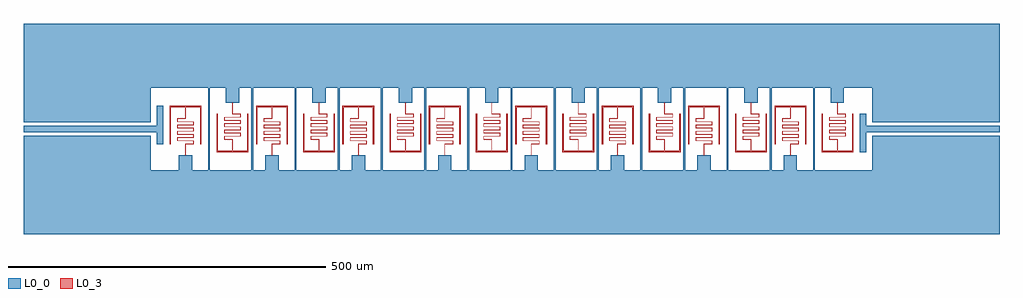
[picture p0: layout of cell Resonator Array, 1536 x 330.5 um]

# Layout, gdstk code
import gdstk
lib = gdstk.Library(unit=1e-6, precision=1e-09)
def P(c, l, *ps):  # polygons
    for p in ps: c.add(gdstk.Polygon(p, *l))
L0_0 = (0, 0)
L0_3 = (0, 3)

resonator_array = lib.new_cell('Resonator Array')
P(resonator_array, L0_0, [(-35,0),(-45,0),(-45,-31.25),(-255,-31.25),(-255,-41.25),(-45,-41.25),(-45,-60),(-35,-60)],
  [(1071,-41.25),(1281,-41.25),(1281,-31.25),(1071,-31.25),(1071,-12.5),(1061,-12.5),(1061,-72.5),(1071,-72.5)],
  [(1015.5,29),(1015.5,5),(1036,5),(1036,29),(1081,29),(1081,-25.25),(1281,-25.25),(1281,129),(-255,129),(-255,-25.25),(-55,-25.25),(-55,29),(38.5,29),(63.5,29),(63.5,5),(84.5,5),(84.5,29),(103.5,29),(103.5,-101.5),(106.5,-101.5),(106.5,29),(174.5,29),(199.5,29),(199.5,5),(220.5,5),(220.5,29),(239.5,29),(239.5,-101.5),(242.5,-101.5),(242.5,29),(310.5,29),(335.5,29),(335.5,5),(356.5,5),(356.5,29),(375.5,29),(375.5,-101.5),(378.5,-101.5),(378.5,29),(446.5,29),(471.5,29),(471.5,5),(492.5,5),(492.5,29),(511.5,29),(511.5,-101.5),(514.5,-101.5),(514.5,29),(582.5,29),(607.5,29),(607.5,5),(628.5,5),(628.5,29),(647.5,29),(647.5,-101.5),(650.5,-101.5),(650.5,29),(718.5,29),(743.5,29),(743.5,5),(764.5,5),(764.5,29),(783.5,29),(783.5,-101.5),(786.5,-101.5),(786.5,29),(854.5,29),(879.5,29),(879.5,5),(900.5,5),(900.5,29),(919.5,29),(919.5,-101.5),(922.5,-101.5),(922.5,29),(987.5,29),(987.5,-101.5),(962,-101.5),(962,-77.5),(941.5,-77.5),(941.5,-101.5),(922.5,-101.5),(919.5,-101.5),(854.5,-101.5),(854.5,29),(786.5,29),(851.5,29),(851.5,-101.5),(826.5,-101.5),(826.5,-77.5),(805.5,-77.5),(805.5,-101.5),(786.5,-101.5),(783.5,-101.5),(718.5,-101.5),(718.5,29),(650.5,29),(715.5,29),(715.5,-101.5),(690.5,-101.5),(690.5,-77.5),(669.5,-77.5),(669.5,-101.5),(650.5,-101.5),(647.5,-101.5),(582.5,-101.5),(582.5,29),(514.5,29),(579.5,29),(579.5,-101.5),(554.5,-101.5),(554.5,-77.5),(533.5,-77.5),(533.5,-101.5),(514.5,-101.5),(511.5,-101.5),(446.5,-101.5),(446.5,29),(378.5,29),(443.5,29),(443.5,-101.5),(418.5,-101.5),(418.5,-77.5),(397.5,-77.5),(397.5,-101.5),(378.5,-101.5),(375.5,-101.5),(310.5,-101.5),(310.5,29),(242.5,29),(307.5,29),(307.5,-101.5),(282.5,-101.5),(282.5,-77.5),(261.5,-77.5),(261.5,-101.5),(242.5,-101.5),(239.5,-101.5),(174.5,-101.5),(174.5,29),(106.5,29),(171.5,29),(171.5,-101.5),(146.5,-101.5),(146.5,-77.5),(125.5,-77.5),(125.5,-101.5),(106.5,-101.5),(103.5,-101.5),(38.5,-101.5),(38.5,29),(-55,29),(35.5,29),(35.5,-101.5),(10.5,-101.5),(10.5,-77.5),(-10.5,-77.5),(-10.5,-101.5),(-55,-101.5),(-55,-47.25),(-255,-47.25),(-255,-201.5),(1281,-201.5),(1281,-47.25),(1081,-47.25),(1081,-101.5),(990.5,-101.5),(990.5,29)])
P(resonator_array, L0_3, [(-25,-60),(-23,-60),(-23,-2),(23,-2),(23,-60),(25,-60),(25,0),(-25,0)],
  [(0.25,-2),(-0.25,-2),(-0.25,-19.5),(-13,-19.5),(-13,-25),(0,-25),(12.5,-25),(12.5,-29.5),(0,-29.5),(-13,-29.5),(-13,-35),(0,-35),(12.5,-35),(12.5,-39.5),(0,-39.5),(-13,-39.5),(-13,-45),(0,-45),(12.5,-45),(12.5,-49.5),(0,-49.5),(-13,-49.5),(-13,-55),(0,-55),(12.5,-55),(12.5,-59.5),(-0.25,-59.5),(-0.25,-77.5),(0.25,-77.5),(0.25,-60),(13,-60),(13,-54.5),(0,-54.5),(-12.5,-54.5),(-12.5,-50),(0,-50),(13,-50),(13,-44.5),(0,-44.5),(-12.5,-44.5),(-12.5,-40),(0,-40),(13,-40),(13,-34.5),(0,-34.5),(-12.5,-34.5),(-12.5,-30),(0,-30),(13,-30),(13,-24.5),(0,-24.5),(-12.5,-24.5),(-12.5,-20),(0.25,-20)],
  [(51,-12.5),(49,-12.5),(49,-72.5),(99,-72.5),(99,-12.5),(97,-12.5),(97,-70.5),(51,-70.5)],
  [(73.75,-70.5),(74.25,-70.5),(74.25,-52.5),(61.5,-52.5),(61.5,-48),(74,-48),(87,-48),(87,-42.5),(74,-42.5),(61.5,-42.5),(61.5,-38),(74,-38),(87,-38),(87,-32.5),(74,-32.5),(61.5,-32.5),(61.5,-28),(74,-28),(87,-28),(87,-22.5),(74,-22.5),(61.5,-22.5),(61.5,-18),(74,-18),(87,-18),(87,-12.5),(74.25,-12.5),(74.25,5),(73.75,5),(73.75,-13),(86.5,-13),(86.5,-17.5),(74,-17.5),(61,-17.5),(61,-23),(74,-23),(86.5,-23),(86.5,-27.5),(74,-27.5),(61,-27.5),(61,-33),(74,-33),(86.5,-33),(86.5,-37.5),(74,-37.5),(61,-37.5),(61,-43),(74,-43),(86.5,-43),(86.5,-47.5),(74,-47.5),(61,-47.5),(61,-53),(73.75,-53)],
  [(111,-60),(113,-60),(113,-2),(159,-2),(159,-60),(161,-60),(161,0),(111,0)],
  [(136.25,-2),(135.75,-2),(135.75,-19.5),(123,-19.5),(123,-25),(136,-25),(148.5,-25),(148.5,-29.5),(136,-29.5),(123,-29.5),(123,-35),(136,-35),(148.5,-35),(148.5,-39.5),(136,-39.5),(123,-39.5),(123,-45),(136,-45),(148.5,-45),(148.5,-49.5),(136,-49.5),(123,-49.5),(123,-55),(136,-55),(148.5,-55),(148.5,-59.5),(135.75,-59.5),(135.75,-77.5),(136.25,-77.5),(136.25,-60),(149,-60),(149,-54.5),(136,-54.5),(123.5,-54.5),(123.5,-50),(136,-50),(149,-50),(149,-44.5),(136,-44.5),(123.5,-44.5),(123.5,-40),(136,-40),(149,-40),(149,-34.5),(136,-34.5),(123.5,-34.5),(123.5,-30),(136,-30),(149,-30),(149,-24.5),(136,-24.5),(123.5,-24.5),(123.5,-20),(136.25,-20)],
  [(187,-12.5),(185,-12.5),(185,-72.5),(235,-72.5),(235,-12.5),(233,-12.5),(233,-70.5),(187,-70.5)],
  [(209.75,-70.5),(210.25,-70.5),(210.25,-52.5),(197.5,-52.5),(197.5,-48),(210,-48),(223,-48),(223,-42.5),(210,-42.5),(197.5,-42.5),(197.5,-38),(210,-38),(223,-38),(223,-32.5),(210,-32.5),(197.5,-32.5),(197.5,-28),(210,-28),(223,-28),(223,-22.5),(210,-22.5),(197.5,-22.5),(197.5,-18),(210,-18),(223,-18),(223,-12.5),(210.25,-12.5),(210.25,5),(209.75,5),(209.75,-13),(222.5,-13),(222.5,-17.5),(210,-17.5),(197,-17.5),(197,-23),(210,-23),(222.5,-23),(222.5,-27.5),(210,-27.5),(197,-27.5),(197,-33),(210,-33),(222.5,-33),(222.5,-37.5),(210,-37.5),(197,-37.5),(197,-43),(210,-43),(222.5,-43),(222.5,-47.5),(210,-47.5),(197,-47.5),(197,-53),(209.75,-53)],
  [(247,-60),(249,-60),(249,-2),(295,-2),(295,-60),(297,-60),(297,0),(247,0)],
  [(272.25,-2),(271.75,-2),(271.75,-19.5),(259,-19.5),(259,-25),(272,-25),(284.5,-25),(284.5,-29.5),(272,-29.5),(259,-29.5),(259,-35),(272,-35),(284.5,-35),(284.5,-39.5),(272,-39.5),(259,-39.5),(259,-45),(272,-45),(284.5,-45),(284.5,-49.5),(272,-49.5),(259,-49.5),(259,-55),(272,-55),(284.5,-55),(284.5,-59.5),(271.75,-59.5),(271.75,-77.5),(272.25,-77.5),(272.25,-60),(285,-60),(285,-54.5),(272,-54.5),(259.5,-54.5),(259.5,-50),(272,-50),(285,-50),(285,-44.5),(272,-44.5),(259.5,-44.5),(259.5,-40),(272,-40),(285,-40),(285,-34.5),(272,-34.5),(259.5,-34.5),(259.5,-30),(272,-30),(285,-30),(285,-24.5),(272,-24.5),(259.5,-24.5),(259.5,-20),(272.25,-20)],
  [(323,-12.5),(321,-12.5),(321,-72.5),(371,-72.5),(371,-12.5),(369,-12.5),(369,-70.5),(323,-70.5)],
  [(345.75,-70.5),(346.25,-70.5),(346.25,-52.5),(333.5,-52.5),(333.5,-48),(346,-48),(359,-48),(359,-42.5),(346,-42.5),(333.5,-42.5),(333.5,-38),(346,-38),(359,-38),(359,-32.5),(346,-32.5),(333.5,-32.5),(333.5,-28),(346,-28),(359,-28),(359,-22.5),(346,-22.5),(333.5,-22.5),(333.5,-18),(346,-18),(359,-18),(359,-12.5),(346.25,-12.5),(346.25,5),(345.75,5),(345.75,-13),(358.5,-13),(358.5,-17.5),(346,-17.5),(333,-17.5),(333,-23),(346,-23),(358.5,-23),(358.5,-27.5),(346,-27.5),(333,-27.5),(333,-33),(346,-33),(358.5,-33),(358.5,-37.5),(346,-37.5),(333,-37.5),(333,-43),(346,-43),(358.5,-43),(358.5,-47.5),(346,-47.5),(333,-47.5),(333,-53),(345.75,-53)],
  [(383,-60),(385,-60),(385,-2),(431,-2),(431,-60),(433,-60),(433,0),(383,0)],
  [(408.25,-2),(407.75,-2),(407.75,-19.5),(395,-19.5),(395,-25),(408,-25),(420.5,-25),(420.5,-29.5),(408,-29.5),(395,-29.5),(395,-35),(408,-35),(420.5,-35),(420.5,-39.5),(408,-39.5),(395,-39.5),(395,-45),(408,-45),(420.5,-45),(420.5,-49.5),(408,-49.5),(395,-49.5),(395,-55),(408,-55),(420.5,-55),(420.5,-59.5),(407.75,-59.5),(407.75,-77.5),(408.25,-77.5),(408.25,-60),(421,-60),(421,-54.5),(408,-54.5),(395.5,-54.5),(395.5,-50),(408,-50),(421,-50),(421,-44.5),(408,-44.5),(395.5,-44.5),(395.5,-40),(408,-40),(421,-40),(421,-34.5),(408,-34.5),(395.5,-34.5),(395.5,-30),(408,-30),(421,-30),(421,-24.5),(408,-24.5),(395.5,-24.5),(395.5,-20),(408.25,-20)],
  [(459,-12.5),(457,-12.5),(457,-72.5),(507,-72.5),(507,-12.5),(505,-12.5),(505,-70.5),(459,-70.5)],
  [(481.75,-70.5),(482.25,-70.5),(482.25,-52.5),(469.5,-52.5),(469.5,-48),(482,-48),(495,-48),(495,-42.5),(482,-42.5),(469.5,-42.5),(469.5,-38),(482,-38),(495,-38),(495,-32.5),(482,-32.5),(469.5,-32.5),(469.5,-28),(482,-28),(495,-28),(495,-22.5),(482,-22.5),(469.5,-22.5),(469.5,-18),(482,-18),(495,-18),(495,-12.5),(482.25,-12.5),(482.25,5),(481.75,5),(481.75,-13),(494.5,-13),(494.5,-17.5),(482,-17.5),(469,-17.5),(469,-23),(482,-23),(494.5,-23),(494.5,-27.5),(482,-27.5),(469,-27.5),(469,-33),(482,-33),(494.5,-33),(494.5,-37.5),(482,-37.5),(469,-37.5),(469,-43),(482,-43),(494.5,-43),(494.5,-47.5),(482,-47.5),(469,-47.5),(469,-53),(481.75,-53)],
  [(519,-60),(521,-60),(521,-2),(567,-2),(567,-60),(569,-60),(569,0),(519,0)],
  [(544.25,-2),(543.75,-2),(543.75,-19.5),(531,-19.5),(531,-25),(544,-25),(556.5,-25),(556.5,-29.5),(544,-29.5),(531,-29.5),(531,-35),(544,-35),(556.5,-35),(556.5,-39.5),(544,-39.5),(531,-39.5),(531,-45),(544,-45),(556.5,-45),(556.5,-49.5),(544,-49.5),(531,-49.5),(531,-55),(544,-55),(556.5,-55),(556.5,-59.5),(543.75,-59.5),(543.75,-77.5),(544.25,-77.5),(544.25,-60),(557,-60),(557,-54.5),(544,-54.5),(531.5,-54.5),(531.5,-50),(544,-50),(557,-50),(557,-44.5),(544,-44.5),(531.5,-44.5),(531.5,-40),(544,-40),(557,-40),(557,-34.5),(544,-34.5),(531.5,-34.5),(531.5,-30),(544,-30),(557,-30),(557,-24.5),(544,-24.5),(531.5,-24.5),(531.5,-20),(544.25,-20)],
  [(595,-12.5),(593,-12.5),(593,-72.5),(643,-72.5),(643,-12.5),(641,-12.5),(641,-70.5),(595,-70.5)],
  [(617.75,-70.5),(618.25,-70.5),(618.25,-52.5),(605.5,-52.5),(605.5,-48),(618,-48),(631,-48),(631,-42.5),(618,-42.5),(605.5,-42.5),(605.5,-38),(618,-38),(631,-38),(631,-32.5),(618,-32.5),(605.5,-32.5),(605.5,-28),(618,-28),(631,-28),(631,-22.5),(618,-22.5),(605.5,-22.5),(605.5,-18),(618,-18),(631,-18),(631,-12.5),(618.25,-12.5),(618.25,5),(617.75,5),(617.75,-13),(630.5,-13),(630.5,-17.5),(618,-17.5),(605,-17.5),(605,-23),(618,-23),(630.5,-23),(630.5,-27.5),(618,-27.5),(605,-27.5),(605,-33),(618,-33),(630.5,-33),(630.5,-37.5),(618,-37.5),(605,-37.5),(605,-43),(618,-43),(630.5,-43),(630.5,-47.5),(618,-47.5),(605,-47.5),(605,-53),(617.75,-53)],
  [(655,-60),(657,-60),(657,-2),(703,-2),(703,-60),(705,-60),(705,0),(655,0)],
  [(680.25,-2),(679.75,-2),(679.75,-19.5),(667,-19.5),(667,-25),(680,-25),(692.5,-25),(692.5,-29.5),(680,-29.5),(667,-29.5),(667,-35),(680,-35),(692.5,-35),(692.5,-39.5),(680,-39.5),(667,-39.5),(667,-45),(680,-45),(692.5,-45),(692.5,-49.5),(680,-49.5),(667,-49.5),(667,-55),(680,-55),(692.5,-55),(692.5,-59.5),(679.75,-59.5),(679.75,-77.5),(680.25,-77.5),(680.25,-60),(693,-60),(693,-54.5),(680,-54.5),(667.5,-54.5),(667.5,-50),(680,-50),(693,-50),(693,-44.5),(680,-44.5),(667.5,-44.5),(667.5,-40),(680,-40),(693,-40),(693,-34.5),(680,-34.5),(667.5,-34.5),(667.5,-30),(680,-30),(693,-30),(693,-24.5),(680,-24.5),(667.5,-24.5),(667.5,-20),(680.25,-20)],
  [(731,-12.5),(729,-12.5),(729,-72.5),(779,-72.5),(779,-12.5),(777,-12.5),(777,-70.5),(731,-70.5)],
  [(753.75,-70.5),(754.25,-70.5),(754.25,-52.5),(741.5,-52.5),(741.5,-48),(754,-48),(767,-48),(767,-42.5),(754,-42.5),(741.5,-42.5),(741.5,-38),(754,-38),(767,-38),(767,-32.5),(754,-32.5),(741.5,-32.5),(741.5,-28),(754,-28),(767,-28),(767,-22.5),(754,-22.5),(741.5,-22.5),(741.5,-18),(754,-18),(767,-18),(767,-12.5),(754.25,-12.5),(754.25,5),(753.75,5),(753.75,-13),(766.5,-13),(766.5,-17.5),(754,-17.5),(741,-17.5),(741,-23),(754,-23),(766.5,-23),(766.5,-27.5),(754,-27.5),(741,-27.5),(741,-33),(754,-33),(766.5,-33),(766.5,-37.5),(754,-37.5),(741,-37.5),(741,-43),(754,-43),(766.5,-43),(766.5,-47.5),(754,-47.5),(741,-47.5),(741,-53),(753.75,-53)],
  [(791,-60),(793,-60),(793,-2),(839,-2),(839,-60),(841,-60),(841,0),(791,0)],
  [(816.25,-2),(815.75,-2),(815.75,-19.5),(803,-19.5),(803,-25),(816,-25),(828.5,-25),(828.5,-29.5),(816,-29.5),(803,-29.5),(803,-35),(816,-35),(828.5,-35),(828.5,-39.5),(816,-39.5),(803,-39.5),(803,-45),(816,-45),(828.5,-45),(828.5,-49.5),(816,-49.5),(803,-49.5),(803,-55),(816,-55),(828.5,-55),(828.5,-59.5),(815.75,-59.5),(815.75,-77.5),(816.25,-77.5),(816.25,-60),(829,-60),(829,-54.5),(816,-54.5),(803.5,-54.5),(803.5,-50),(816,-50),(829,-50),(829,-44.5),(816,-44.5),(803.5,-44.5),(803.5,-40),(816,-40),(829,-40),(829,-34.5),(816,-34.5),(803.5,-34.5),(803.5,-30),(816,-30),(829,-30),(829,-24.5),(816,-24.5),(803.5,-24.5),(803.5,-20),(816.25,-20)],
  [(867,-12.5),(865,-12.5),(865,-72.5),(915,-72.5),(915,-12.5),(913,-12.5),(913,-70.5),(867,-70.5)],
  [(889.75,-70.5),(890.25,-70.5),(890.25,-52.5),(877.5,-52.5),(877.5,-48),(890,-48),(903,-48),(903,-42.5),(890,-42.5),(877.5,-42.5),(877.5,-38),(890,-38),(903,-38),(903,-32.5),(890,-32.5),(877.5,-32.5),(877.5,-28),(890,-28),(903,-28),(903,-22.5),(890,-22.5),(877.5,-22.5),(877.5,-18),(890,-18),(903,-18),(903,-12.5),(890.25,-12.5),(890.25,5),(889.75,5),(889.75,-13),(902.5,-13),(902.5,-17.5),(890,-17.5),(877,-17.5),(877,-23),(890,-23),(902.5,-23),(902.5,-27.5),(890,-27.5),(877,-27.5),(877,-33),(890,-33),(902.5,-33),(902.5,-37.5),(890,-37.5),(877,-37.5),(877,-43),(890,-43),(902.5,-43),(902.5,-47.5),(890,-47.5),(877,-47.5),(877,-53),(889.75,-53)],
  [(927,-60),(929,-60),(929,-2),(975,-2),(975,-60),(977,-60),(977,0),(927,0)],
  [(952.25,-2),(951.75,-2),(951.75,-19.5),(939,-19.5),(939,-25),(952,-25),(964.5,-25),(964.5,-29.5),(952,-29.5),(939,-29.5),(939,-35),(952,-35),(964.5,-35),(964.5,-39.5),(952,-39.5),(939,-39.5),(939,-45),(952,-45),(964.5,-45),(964.5,-49.5),(952,-49.5),(939,-49.5),(939,-55),(952,-55),(964.5,-55),(964.5,-59.5),(951.75,-59.5),(951.75,-77.5),(952.25,-77.5),(952.25,-60),(965,-60),(965,-54.5),(952,-54.5),(939.5,-54.5),(939.5,-50),(952,-50),(965,-50),(965,-44.5),(952,-44.5),(939.5,-44.5),(939.5,-40),(952,-40),(965,-40),(965,-34.5),(952,-34.5),(939.5,-34.5),(939.5,-30),(952,-30),(965,-30),(965,-24.5),(952,-24.5),(939.5,-24.5),(939.5,-20),(952.25,-20)],
  [(1003,-12.5),(1001,-12.5),(1001,-72.5),(1051,-72.5),(1051,-12.5),(1049,-12.5),(1049,-70.5),(1003,-70.5)],
  [(1025.75,-70.5),(1026.25,-70.5),(1026.25,-52.5),(1013.5,-52.5),(1013.5,-48),(1026,-48),(1039,-48),(1039,-42.5),(1026,-42.5),(1013.5,-42.5),(1013.5,-38),(1026,-38),(1039,-38),(1039,-32.5),(1026,-32.5),(1013.5,-32.5),(1013.5,-28),(1026,-28),(1039,-28),(1039,-22.5),(1026,-22.5),(1013.5,-22.5),(1013.5,-18),(1026,-18),(1039,-18),(1039,-12.5),(1026.25,-12.5),(1026.25,5),(1025.75,5),(1025.75,-13),(1038.5,-13),(1038.5,-17.5),(1026,-17.5),(1013,-17.5),(1013,-23),(1026,-23),(1038.5,-23),(1038.5,-27.5),(1026,-27.5),(1013,-27.5),(1013,-33),(1026,-33),(1038.5,-33),(1038.5,-37.5),(1026,-37.5),(1013,-37.5),(1013,-43),(1026,-43),(1038.5,-43),(1038.5,-47.5),(1026,-47.5),(1013,-47.5),(1013,-53),(1025.75,-53)])

lib.write_gds('Resonator_Array.gds')
